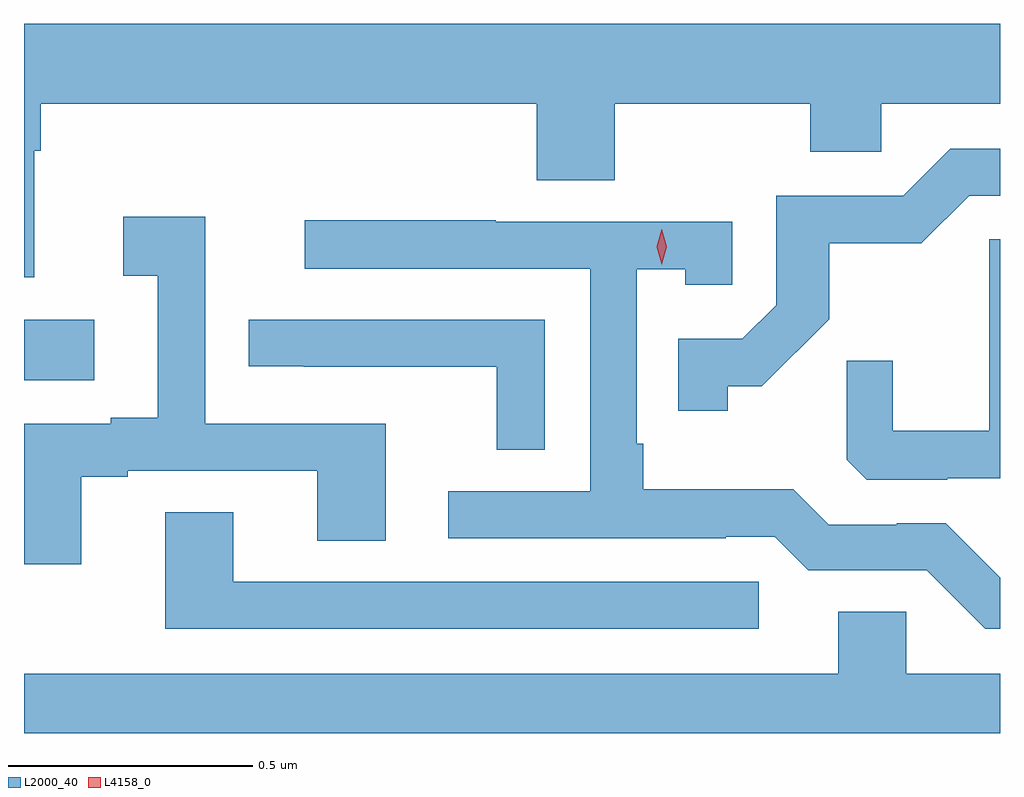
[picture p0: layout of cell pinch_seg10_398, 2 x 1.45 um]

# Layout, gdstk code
import gdstk
lib = gdstk.Library(unit=1e-6, precision=1e-09)
def R(c, l, rs):  # rectangles x0, y0, x1, y1
    for r in rs: c.add(gdstk.rectangle(r[:2], r[2:], *l))
def P(c, l, *ps):  # polygons
    for p in ps: c.add(gdstk.Polygon(p, *l))
L2000_40 = (2000, 40)
L4158_0 = (4158, 0)

pinch_seg10_398 = lib.new_cell('pinch_seg10_398')
R(pinch_seg10_398, L2000_40, [(538.042,1258.457,538.186,1258.581)])
P(pinch_seg10_398, L2000_40, [(538.063,1258.928),(538.076,1258.928),(538.076,1259.024),(539.093,1259.024),(539.093,1258.867),(539.253,1258.867),(539.253,1259.024),(539.653,1259.024),(539.653,1258.926),(539.799,1258.926),(539.799,1259.024),(540.042,1259.024),(540.042,1259.188),(538.042,1259.188),(538.042,1258.668),(538.063,1258.668)],
  [(539.484,1258.445),(539.554,1258.445),(539.692,1258.582),(539.692,1258.738),(539.881,1258.738),(539.979,1258.836),(540.042,1258.836),(540.042,1258.932),(539.94,1258.932),(539.844,1258.836),(539.583,1258.836),(539.583,1258.611),(539.514,1258.542),(539.383,1258.542),(539.383,1258.395),(539.484,1258.395)],
  [(538.159,1258.26),(538.255,1258.26),(538.255,1258.272),(538.643,1258.272),(538.643,1258.129),(538.783,1258.129),(538.783,1258.368),(538.413,1258.368),(538.413,1258.792),(538.245,1258.792),(538.245,1258.672),(538.316,1258.672),(538.316,1258.381),(538.22,1258.381),(538.22,1258.368),(538.042,1258.368),(538.042,1258.08),(538.159,1258.08)],
  [(540.042,1258.053),(539.931,1258.164),(539.83,1258.164),(539.83,1258.161),(539.691,1258.161),(539.618,1258.234),(539.311,1258.234),(539.311,1258.327),(539.298,1258.327),(539.298,1258.685),(539.397,1258.685),(539.397,1258.653),(539.493,1258.653),(539.493,1258.782),(539.009,1258.782),(539.009,1258.785),(538.617,1258.785),(538.617,1258.686),(539.202,1258.686),(539.202,1258.23),(538.911,1258.23),(538.911,1258.134),(539.48,1258.134),(539.48,1258.137),(539.58,1258.137),(539.649,1258.068),(539.892,1258.068),(540.012,1257.948),(540.042,1257.948)],
  [(539.934,1258.257),(540.042,1258.257),(540.042,1258.746),(540.02,1258.746),(540.02,1258.354),(539.822,1258.354),(539.822,1258.497),(539.728,1258.497),(539.728,1258.295),(539.769,1258.254),(539.934,1258.254)],
  [(539.109,1258.581),(538.503,1258.581),(538.503,1258.486),(538.615,1258.486),(538.615,1258.485),(539.011,1258.485),(539.011,1258.315),(539.109,1258.315)],
  [(539.548,1258.044),(538.471,1258.044),(538.471,1258.187),(538.331,1258.187),(538.331,1257.948),(539.548,1257.948)],
  [(540.042,1257.856),(539.85,1257.856),(539.85,1257.983),(539.711,1257.983),(539.711,1257.856),(538.042,1257.856),(538.042,1257.734),(540.042,1257.734)])
P(pinch_seg10_398, L4158_0, [(539.349,1258.694),(539.349,1258.695),(539.339,1258.731),(539.349,1258.767),(539.349,1258.767),(539.349,1258.767),(539.359,1258.731),(539.349,1258.695)])

lib.write_gds('pinch_seg10_398.gds')
